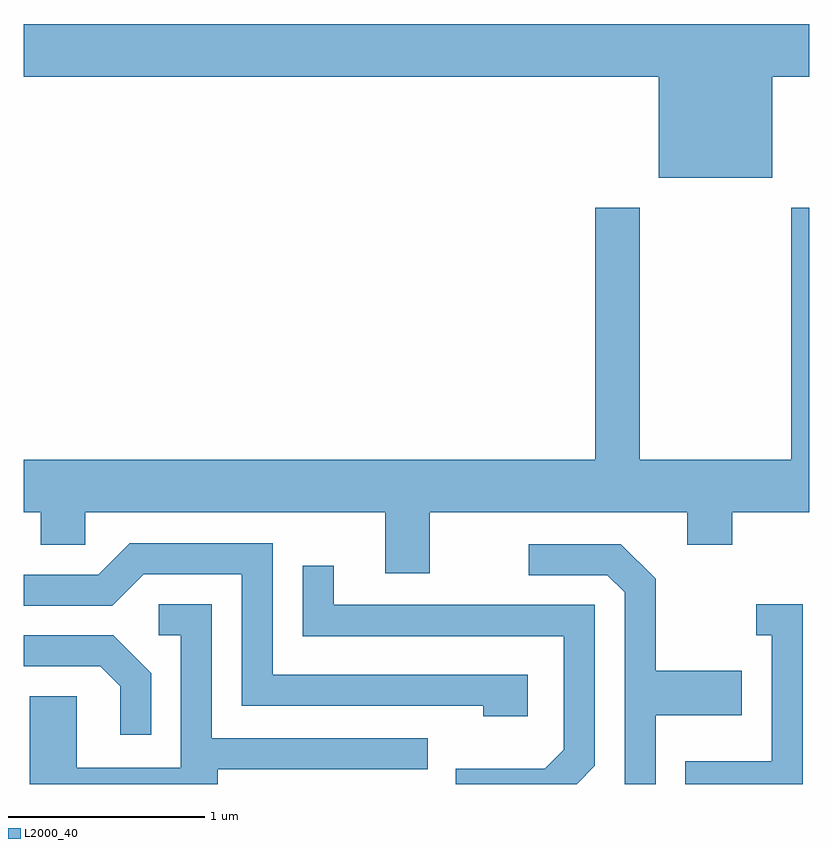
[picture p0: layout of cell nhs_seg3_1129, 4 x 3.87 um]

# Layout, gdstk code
import gdstk
lib = gdstk.Library(unit=1e-6, precision=1e-09)
def P(c, l, *ps):  # polygons
    for p in ps: c.add(gdstk.Polygon(p, *l))
L2000_40 = (2000, 40)

nhs_seg3_1129 = lib.new_cell('nhs_seg3_1129')
P(nhs_seg3_1129, L2000_40, [(221.424,1201.496),(221.611,1201.496),(221.611,1201.764),(217.611,1201.764),(217.611,1201.496),(220.846,1201.496),(220.846,1200.981),(221.424,1200.981)],
  [(219.679,1199.276),(220.991,1199.276),(220.991,1199.111),(221.219,1199.111),(221.219,1199.276),(221.611,1199.276),(221.611,1200.829),(221.521,1200.829),(221.521,1199.544),(220.749,1199.544),(220.749,1200.829),(220.521,1200.829),(220.521,1199.544),(217.611,1199.544),(217.611,1199.276),(217.696,1199.276),(217.696,1199.111),(217.924,1199.111),(217.924,1199.276),(219.451,1199.276),(219.451,1198.966),(219.679,1198.966)],
  [(220.179,1198.449),(218.879,1198.449),(218.879,1199.119),(218.149,1199.119),(217.989,1198.959),(217.611,1198.959),(217.611,1198.801),(218.062,1198.801),(218.222,1198.961),(218.721,1198.961),(218.721,1198.291),(219.951,1198.291),(219.951,1198.236),(220.179,1198.236)],
  [(220.829,1198.241),(221.269,1198.241),(221.269,1198.469),(220.829,1198.469),(220.829,1198.937),(220.652,1199.114),(220.183,1199.114),(220.183,1198.956),(220.584,1198.956),(220.671,1198.869),(220.671,1197.892),(220.829,1197.892)],
  [(220.519,1197.984),(220.519,1198.804),(219.189,1198.804),(219.189,1199.003),(219.031,1199.003),(219.031,1198.646),(220.361,1198.646),(220.361,1198.067),(220.264,1197.969),(219.811,1197.969),(219.811,1197.892),(220.428,1197.892)],
  [(218.599,1197.966),(219.668,1197.966),(219.668,1198.124),(218.569,1198.124),(218.569,1198.809),(218.298,1198.809),(218.298,1198.651),(218.411,1198.651),(218.411,1197.974),(217.879,1197.974),(217.879,1198.339),(217.641,1198.339),(217.641,1197.892),(218.599,1197.892)],
  [(221.579,1198.809),(221.343,1198.809),(221.343,1198.651),(221.421,1198.651),(221.421,1198.009),(220.981,1198.009),(220.981,1197.892),(221.579,1197.892)],
  [(218.259,1198.457),(218.067,1198.649),(217.611,1198.649),(217.611,1198.491),(217.999,1198.491),(218.101,1198.389),(218.101,1198.143),(218.259,1198.143)])

lib.write_gds('nhs_seg3_1129.gds')
